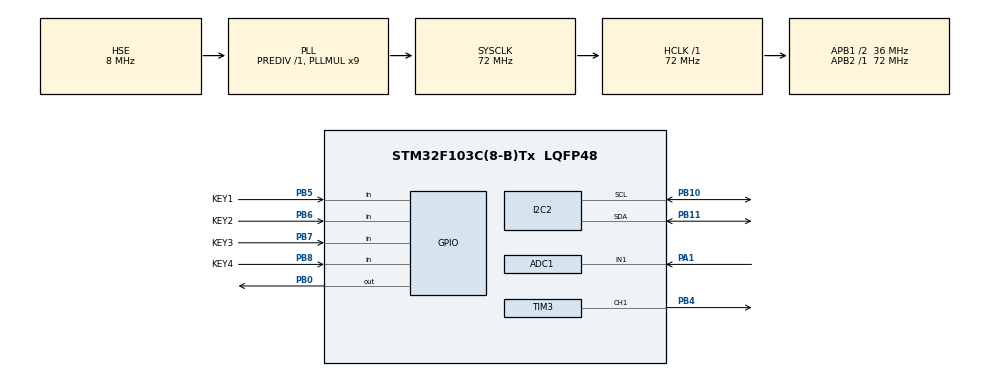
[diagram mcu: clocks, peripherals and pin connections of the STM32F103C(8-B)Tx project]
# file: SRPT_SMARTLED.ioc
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ADC1.Channel-0\#ChannelRegularConversion=ADC_CHANNEL_1
ADC1.NbrOfConversionFlag=1
ADC1.Rank-0\#ChannelRegularConversion=1
ADC1.SamplingTime-0\#ChannelRegularConversion=ADC_SAMPLETIME_1CYCLE_5
ADC1.master=1
Dma.Request0=TIM3_CH1/TRIG
Dma.TIM3_CH1/TRIG.0.Direction=DMA_MEMORY_TO_PERIPH
Dma.TIM3_CH1/TRIG.0.Instance=DMA1_Channel6
Dma.TIM3_CH1/TRIG.0.MemDataAlignment=DMA_MDATAALIGN_HALFWORD
Dma.TIM3_CH1/TRIG.0.MemInc=DMA_MINC_ENABLE
Dma.TIM3_CH1/TRIG.0.Mode=DMA_NORMAL
Dma.TIM3_CH1/TRIG.0.PeriphDataAlignment=DMA_PDATAALIGN_HALFWORD
Dma.TIM3_CH1/TRIG.0.PeriphInc=DMA_PINC_DISABLE
Dma.TIM3_CH1/TRIG.0.Priority=DMA_PRIORITY_LOW
Mcu.Family=STM32F1
Mcu.Name=STM32F103C(8-B)Tx
Mcu.Package=LQFP48
NVIC.DMA1_Channel6_IRQn=true\:0\:0\:false\:false\:true\:false\:true\:true
NVIC.PriorityGroup=NVIC_PRIORITYGROUP_4
PA1.Signal=ADCx_IN1
PA13.Mode=Serial_Wire
PA13.Signal=SYS_JTMS-SWDIO
PA14.Mode=Serial_Wire
PA14.Signal=SYS_JTCK-SWCLK
PB0.GPIO_Speed=GPIO_SPEED_FREQ_HIGH
PB0.Signal=GPIO_Output
PB10.Mode=I2C
PB10.Signal=I2C2_SCL
PB11.Mode=I2C
PB11.Signal=I2C2_SDA
PB4.GPIO_ModeDefaultPP=GPIO_MODE_AF_PP
PB4.GPIO_Speed=GPIO_SPEED_FREQ_HIGH
PB4.Signal=S_TIM3_CH1
PB5.GPIO_Label=KEY1
PB5.Signal=GPIO_Input
PB6.GPIO_Label=KEY2
PB6.Signal=GPIO_Input
PB7.GPIO_Label=KEY3
PB7.Signal=GPIO_Input
PB8.GPIO_Label=KEY4
PB8.Signal=GPIO_Input
PD0-OSC_IN.Mode=HSE-External-Oscillator
PD0-OSC_IN.Signal=RCC_OSC_IN
PD1-OSC_OUT.Mode=HSE-External-Oscillator
PD1-OSC_OUT.Signal=RCC_OSC_OUT
ProjectManager.HeapSize=0x200
ProjectManager.StackSize=0x400
ProjectManager.TargetToolchain=CMake
RCC.ADCPresc=RCC_ADCPCLK2_DIV6
RCC.AHBFreq_Value=72000000
RCC.APB1CLKDivider=RCC_HCLK_DIV2
RCC.APB1Freq_Value=36000000
RCC.APB1TimFreq_Value=72000000
RCC.APB2Freq_Value=72000000
RCC.APB2TimFreq_Value=72000000
RCC.HCLKFreq_Value=72000000
RCC.PLLMUL=RCC_PLL_MUL9
RCC.PLLSourceVirtual=RCC_PLLSOURCE_HSE
RCC.SYSCLKFreq_VALUE=72000000
RCC.SYSCLKSource=RCC_SYSCLKSOURCE_PLLCLK
RCC.USBFreq_Value=72000000
SH.ADCx_IN1.0=ADC1_IN1,IN1
SH.S_TIM3_CH1.0=TIM3_CH1,PWM Generation1 CH1
TIM3.Channel-PWM\ Generation1\ CH1=TIM_CHANNEL_1
VP_TIM3_VS_ClockSourceINT.Mode=Internal
board=custom

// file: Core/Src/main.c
/* USER CODE BEGIN Header */
/**
  ******************************************************************************
  * @file           : main.c
  * @brief          : Main program body
  ******************************************************************************
  * @attention
  *
  * Copyright (c) 2026 STMicroelectronics.
  * All rights reserved.
  *
  * This software is licensed under terms that can be found in the LICENSE file
  * in the root directory of this software component.
  * If no LICENSE file comes with this software, it is provided AS-IS.
  *
  ******************************************************************************
  */
/* USER CODE END Header */
#include "main.h"
#include "adc.h"
#include "dma.h"
#include "i2c.h"
#include "tim.h"
#include "gpio.h"

/* USER CODE BEGIN Includes */
#include "oled.h"
#include "font.h"
#include "ws2812.h"
// #include "ws2812_DMA.h"
#include "LDR.h"
#include "IR_sensor.h"
#include <stdio.h>
/* USER CODE END Includes */

/* USER CODE BEGIN PD */
#define READ_KEY1     HAL_GPIO_ReadPin(KEY1_GPIO_Port, KEY1_Pin)==GPIO_PIN_RESET
#define READ_KEY2     HAL_GPIO_ReadPin(KEY2_GPIO_Port, KEY2_Pin)==GPIO_PIN_RESET
#define READ_KEY3     HAL_GPIO_ReadPin(KEY3_GPIO_Port, KEY3_Pin)==GPIO_PIN_RESET
#define READ_KEY4     HAL_GPIO_ReadPin(KEY4_GPIO_Port, KEY4_Pin)==GPIO_PIN_RESET
/* USER CODE END PD */

void SystemClock_Config(void);

int main(void)
{

  /* MCU Configuration--------------------------------------------------------*/

  /* Reset of all peripherals, Initializes the Flash interface and the Systick. */
  HAL_Init();

  /* Configure the system clock */
  SystemClock_Config();

  /* Initialize all configured peripherals */
  MX_GPIO_Init();
  MX_DMA_Init();
  MX_I2C2_Init();
  MX_ADC1_Init();
  MX_TIM3_Init();
  /* USER CODE BEGIN 2 */

  // oled.h
  OLED_Init_();

  // WS2812_Update_();

  /* USER CODE END 2 */

  /* Infinite loop */
  /* USER CODE BEGIN WHILE */

  WS2812_Test();

  uint8_t mode = 3;                   // Mode 3, 全亮, Mode 0 减3度
  char mode_str[10] = "";             // 模式显示
  char brightness_str[20] = "";       // 光强显示

  while (1)
  {
    // 光强读取
    uint16_t brightness = VoltageRead_();

    // 按键读取
    if(READ_KEY1 || READ_KEY2 || READ_KEY3 || READ_KEY4) {

      if (READ_KEY1 && mode > 0)     // 亮度减弱
        mode--;
      if (READ_KEY2 && mode < 3)     // 亮度增强
        mode++;

      if (READ_KEY3) {                // 预备按键

      }
      if (READ_KEY4) {                // 预备按键

      }

      HAL_Delay(200);
    }

    // OLED显示

    sprintf(mode_str, "Mode: %d", mode);
    sprintf(brightness_str, "Brightness: %d", brightness);

    OLED_NewFrame_();
    OLED_PrintString_(80, 0, "=SRPT_SMARTLED=", &font16x16, 0);
    OLED_PrintString_(0, 16, mode_str, &font16x16, 0);
    OLED_PrintString_(0, 32, brightness_str, &font16x16, 0);
    OLED_ShowFrame_();

    // 小灯控制
    if (IR_Read_()) {   // 检测到物体, 根据光强和模式设置小灯亮度

      // 发送一个大于50us的低电平复位信号
      HAL_GPIO_WritePin(LED_Port, LED_PIN, GPIO_PIN_RESET);
      HAL_Delay(1);

      float brightness_basic = brightness / (3.3f/5.0f);
      uint8_t brightness_WS = (uint8_t)(brightness_basic) + mode;
      uint16_t light_bri = 2^brightness_WS;
      if (light_bri > 255) light_bri = 255;       // 防止溢出

      WS2812Set_(light_bri, light_bri, light_bri);
      WS2812Set_(light_bri, light_bri, light_bri);
      WS2812Set_(light_bri, light_bri, light_bri);
      WS2812Set_(light_bri, light_bri, light_bri);

      // 发送一个大于50us的低电平复位信号
      HAL_GPIO_WritePin(LED_Port, LED_PIN, GPIO_PIN_RESET);
      HAL_Delay(1);

    } else {            // 没有检测到物体, 关闭小灯

      // 发送一个大于50us的低电平复位信号
      HAL_GPIO_WritePin(LED_Port, LED_PIN, GPIO_PIN_RESET);
      HAL_Delay(1);

      WS2812Set_(0, 0, 0);
      WS2812Set_(0, 0, 0);
      WS2812Set_(0, 0, 0);
      WS2812Set_(0, 0, 0);

      // 发送一个大于50us的低电平复位信号
      HAL_GPIO_WritePin(LED_Port, LED_PIN, GPIO_PIN_RESET);
      HAL_Delay(1);
    }

    // 延迟然后进下一循环
    HAL_Delay(100);

    /* USER CODE END WHILE */

  }
}

void SystemClock_Config(void)
{
  RCC_OscInitTypeDef RCC_OscInitStruct = {0};
  RCC_ClkInitTypeDef RCC_ClkInitStruct = {0};
  RCC_PeriphCLKInitTypeDef PeriphClkInit = {0};

  /** Initializes the RCC Oscillators according to the specified parameters
  * in the RCC_OscInitTypeDef structure.
  */
  RCC_OscInitStruct.OscillatorType = RCC_OSCILLATORTYPE_HSE;
  RCC_OscInitStruct.HSEState = RCC_HSE_ON;
  RCC_OscInitStruct.HSEPredivValue = RCC_HSE_PREDIV_DIV1;
  RCC_OscInitStruct.HSIState = RCC_HSI_ON;
  RCC_OscInitStruct.PLL.PLLState = RCC_PLL_ON;
  RCC_OscInitStruct.PLL.PLLSource = RCC_PLLSOURCE_HSE;
  RCC_OscInitStruct.PLL.PLLMUL = RCC_PLL_MUL9;
  if (HAL_RCC_OscConfig(&RCC_OscInitStruct) != HAL_OK)
  {
    Error_Handler();
  }

  /** Initializes the CPU, AHB and APB buses clocks
  */
  RCC_ClkInitStruct.ClockType = RCC_CLOCKTYPE_HCLK|RCC_CLOCKTYPE_SYSCLK
                              |RCC_CLOCKTYPE_PCLK1|RCC_CLOCKTYPE_PCLK2;
  RCC_ClkInitStruct.SYSCLKSource = RCC_SYSCLKSOURCE_PLLCLK;
  RCC_ClkInitStruct.AHBCLKDivider = RCC_SYSCLK_DIV1;
  RCC_ClkInitStruct.APB1CLKDivider = RCC_HCLK_DIV2;
  RCC_ClkInitStruct.APB2CLKDivider = RCC_HCLK_DIV1;

  if (HAL_RCC_ClockConfig(&RCC_ClkInitStruct, FLASH_LATENCY_2) != HAL_OK)
  {
    Error_Handler();
  }
  PeriphClkInit.PeriphClockSelection = RCC_PERIPHCLK_ADC;
  PeriphClkInit.AdcClockSelection = RCC_ADCPCLK2_DIV6;
  if (HAL_RCCEx_PeriphCLKConfig(&PeriphClkInit) != HAL_OK)
  {
    Error_Handler();
  }
}

void Error_Handler(void)
{
  __disable_irq();
  while (1)
  {
  }
}
